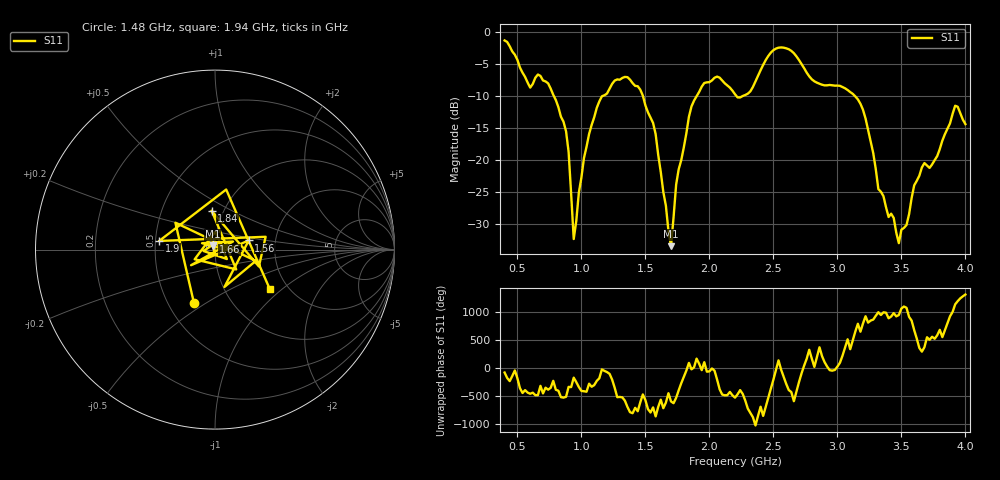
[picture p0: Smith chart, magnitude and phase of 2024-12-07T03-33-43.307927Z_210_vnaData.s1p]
!Created with skrf (http://scikit-rf.org).
# Hz S RI R 50.0
!freq ReS11 ImS11
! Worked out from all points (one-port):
!   181 points, 400 MHz to 4 GHz, reference 50 ohm
!   lowest |S11| = -33.5 dB at 1.7 GHz (marker M1), VSWR 1.04, Z = 48.8 + j1.75 ohm
!   |S11| at or under -10 dB: 784.7 MHz to 1.165 GHz (380.7 MHz wide, 39 % of centre); 1.481 GHz to 1.901 GHz (420.4 MHz wide, 24.9 % of centre); 3.137 GHz to end of sweep (the widest 3 of 4)
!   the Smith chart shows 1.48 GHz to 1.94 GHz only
!   S11 on the Smith chart (normalised r, x): 1.48 GHz: 0.67, -0.44; 1.56 GHz: 1.45, +0.15; 1.66 GHz: 0.98, +0.08; 1.84 GHz: 0.88, +0.40; 1.9 GHz: 0.52, +0.06; 1.94 GHz: 1.62, -0.82
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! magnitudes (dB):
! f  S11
! 400 MHz  -1.3
! 600 MHz  -8.7
! 740 MHz  -8.0
! 860 MHz  -14.0
! 900 MHz  -18.7
! 940 MHz  -32.3
! 1.02 GHz  -19.7
! 1.08 GHz  -14.5
! 1.3 GHz  -7.5
! 1.48 GHz  -9.9
! 1.56 GHz  -14.2
! 1.66 GHz  -27.1
! 1.7 GHz  -33.5
! 1.76 GHz  -21.5
! 1.84 GHz  -13.2
! 1.9 GHz  -10.0
! 1.94 GHz  -8.5
! 2.2 GHz  -9.7
! 2.5 GHz  -2.8
! 2.66 GHz  -3.3
! 3.1 GHz  -9.4
! 3.2 GHz  -12.2
! 3.32 GHz  -24.5
! 3.48 GHz  -33.0
! 3.56 GHz  -28.5
! 3.6 GHz  -24.0
! 3.92 GHz  -11.5
! 4 GHz  -14.4
